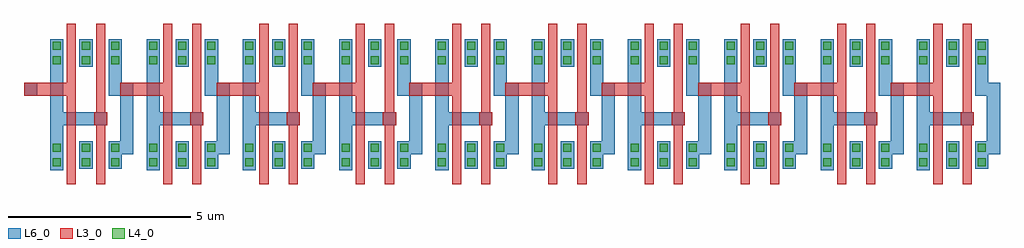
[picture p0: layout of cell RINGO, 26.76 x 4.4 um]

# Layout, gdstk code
import gdstk
lib = gdstk.Library(unit=1e-6, precision=1e-09)
def R(c, l, rs):  # rectangles x0, y0, x1, y1
    for r in rs: c.add(gdstk.rectangle(r[:2], r[2:], *l))
def P(c, l, *ps):  # polygons
    for p in ps: c.add(gdstk.Polygon(p, *l))
L3_0 = (3, 0)
L4_0 = (4, 0)
L6_0 = (6, 0)
L10_0 = (10, 0)
L11_0 = (11, 0)
L20_0 = (20, 0)
L30_0 = (30, 0)

trans = lib.new_cell('TRANS')
R(trans, L3_0, [(-0.125,-0.8,0.125,0.8)])
R(trans, L4_0, [(-0.51,-0.31,-0.29,-0.09), (0.29,-0.31,0.51,-0.09), (-0.51,0.09,-0.29,0.31), (0.29,0.09,0.51,0.31)])
R(trans, L6_0, [(-0.58,-0.38,-0.22,0.38), (0.22,-0.38,0.58,0.38)])

inv2 = lib.new_cell('INV2')
R(inv2, L3_0, [(-0.525,-0.25,-0.275,2.25), (0.275,-0.25,0.525,2.25), (0.22,0.82,0.58,1.18), (-1.7,1.62,-0.4,1.98)])
R(inv2, L6_0, [(-0.98,-0.42,-0.62,2.42), (-0.8,0.82,0.58,1.18)])
P(inv2, L6_0, [(0.8,0.02),(0.8,0.38),(0.94,0.38),(0.94,1.62),(0.62,1.62),(0.62,2.42),(0.98,2.42),(0.98,1.98),(1.3,1.98),(1.3,0.02)])
inv2.add(gdstk.FlexPath([(0.22,0.82),(0.22,1.18)], 0, ends="flush", simple_path=True, layer=10, datatype=0))  # L10_0
inv2.add(gdstk.FlexPath([(-0.275,1.18),(-0.275,0.82)], 0, ends="flush", simple_path=True, layer=10, datatype=0))  # L10_0
inv2.add(gdstk.FlexPath([(0.22,0.82),(0.22,1.18)], 0, ends="flush", simple_path=True, layer=11, datatype=0))  # L11_0
inv2.add(gdstk.FlexPath([(-0.275,3.6),(-0.275,-0.8)], 0, ends="flush", simple_path=True, layer=11, datatype=0))  # L11_0
inv2.add(gdstk.FlexPath([(-0.275,-0.09),(-0.275,-0.31)], 0, ends="flush", simple_path=True, layer=20, datatype=0))  # L20_0
inv2.add(gdstk.FlexPath([(-0.11,-0.31),(-0.11,-0.09)], 0, ends="flush", simple_path=True, layer=20, datatype=0))  # L20_0
inv2.add(gdstk.FlexPath([(0.525,0.31),(0.525,0.09)], 0, ends="flush", simple_path=True, layer=20, datatype=0))  # L20_0
inv2.add(gdstk.FlexPath([(0.69,0.09),(0.69,0.31)], 0, ends="flush", simple_path=True, layer=20, datatype=0))  # L20_0
inv2.add(gdstk.FlexPath([(0.525,2.71),(0.525,2.49)], 0, ends="flush", simple_path=True, layer=20, datatype=0))  # L20_0
inv2.add(gdstk.FlexPath([(0.69,2.49),(0.69,2.71)], 0, ends="flush", simple_path=True, layer=20, datatype=0))  # L20_0
inv2.add(gdstk.FlexPath([(-0.275,2.71),(-0.275,2.49)], 0, ends="flush", simple_path=True, layer=20, datatype=0))  # L20_0
inv2.add(gdstk.FlexPath([(-0.11,2.49),(-0.11,2.71)], 0, ends="flush", simple_path=True, layer=20, datatype=0))  # L20_0
inv2.add(gdstk.FlexPath([(0.525,-0.09),(0.525,-0.31)], 0, ends="flush", simple_path=True, layer=20, datatype=0))  # L20_0
inv2.add(gdstk.FlexPath([(0.69,-0.31),(0.69,-0.09)], 0, ends="flush", simple_path=True, layer=20, datatype=0))  # L20_0
inv2.add(gdstk.FlexPath([(0.275,2.49),(0.275,2.71)], 0, ends="flush", simple_path=True, layer=20, datatype=0))  # L20_0
inv2.add(gdstk.FlexPath([(0.11,2.71),(0.11,2.49)], 0, ends="flush", simple_path=True, layer=20, datatype=0))  # L20_0
inv2.add(gdstk.FlexPath([(-0.275,0.31),(-0.275,0.09)], 0, ends="flush", simple_path=True, layer=20, datatype=0))  # L20_0
inv2.add(gdstk.FlexPath([(-0.11,0.09),(-0.11,0.31)], 0, ends="flush", simple_path=True, layer=20, datatype=0))  # L20_0
inv2.add(gdstk.FlexPath([(0.525,3.11),(0.525,2.89)], 0, ends="flush", simple_path=True, layer=20, datatype=0))  # L20_0
inv2.add(gdstk.FlexPath([(0.69,2.89),(0.69,3.11)], 0, ends="flush", simple_path=True, layer=20, datatype=0))  # L20_0
inv2.add(gdstk.FlexPath([(0.275,2.89),(0.275,3.11)], 0, ends="flush", simple_path=True, layer=20, datatype=0))  # L20_0
inv2.add(gdstk.FlexPath([(0.11,3.11),(0.11,2.89)], 0, ends="flush", simple_path=True, layer=20, datatype=0))  # L20_0
inv2.add(gdstk.FlexPath([(0.275,-0.31),(0.275,-0.09)], 0, ends="flush", simple_path=True, layer=20, datatype=0))  # L20_0
inv2.add(gdstk.FlexPath([(0.11,-0.09),(0.11,-0.31)], 0, ends="flush", simple_path=True, layer=20, datatype=0))  # L20_0
inv2.add(gdstk.FlexPath([(-0.525,-0.31),(-0.525,-0.09)], 0, ends="flush", simple_path=True, layer=20, datatype=0))  # L20_0
inv2.add(gdstk.FlexPath([(-0.69,-0.09),(-0.69,-0.31)], 0, ends="flush", simple_path=True, layer=20, datatype=0))  # L20_0
inv2.add(gdstk.FlexPath([(0.275,0.09),(0.275,0.31)], 0, ends="flush", simple_path=True, layer=20, datatype=0))  # L20_0
inv2.add(gdstk.FlexPath([(0.11,0.31),(0.11,0.09)], 0, ends="flush", simple_path=True, layer=20, datatype=0))  # L20_0
inv2.add(gdstk.FlexPath([(-0.525,0.09),(-0.525,0.31)], 0, ends="flush", simple_path=True, layer=20, datatype=0))  # L20_0
inv2.add(gdstk.FlexPath([(-0.69,0.31),(-0.69,0.09)], 0, ends="flush", simple_path=True, layer=20, datatype=0))  # L20_0
inv2.add(gdstk.FlexPath([(-0.525,2.49),(-0.525,2.71)], 0, ends="flush", simple_path=True, layer=20, datatype=0))  # L20_0
inv2.add(gdstk.FlexPath([(-0.69,2.71),(-0.69,2.49)], 0, ends="flush", simple_path=True, layer=20, datatype=0))  # L20_0
inv2.add(gdstk.FlexPath([(-0.275,3.11),(-0.275,2.89)], 0, ends="flush", simple_path=True, layer=20, datatype=0))  # L20_0
inv2.add(gdstk.FlexPath([(-0.11,2.89),(-0.11,3.11)], 0, ends="flush", simple_path=True, layer=20, datatype=0))  # L20_0
inv2.add(gdstk.FlexPath([(-0.525,2.89),(-0.525,3.11)], 0, ends="flush", simple_path=True, layer=20, datatype=0))  # L20_0
inv2.add(gdstk.FlexPath([(-0.69,3.11),(-0.69,2.89)], 0, ends="flush", simple_path=True, layer=20, datatype=0))  # L20_0
inv2.add(gdstk.FlexPath([(0.98,3.18),(0.98,1.98)], 0, ends="flush", simple_path=True, layer=30, datatype=0))  # L30_0
inv2.add(gdstk.FlexPath([(0.91,3.11),(0.91,2.89)], 0, ends="flush", simple_path=True, layer=30, datatype=0))  # L30_0
inv2.add(gdstk.FlexPath([(0.98,3.18),(0.98,1.98)], 0, ends="flush", simple_path=True, layer=30, datatype=0))  # L30_0
inv2.add(gdstk.FlexPath([(0.91,2.71),(0.91,2.49)], 0, ends="flush", simple_path=True, layer=30, datatype=0))  # L30_0
inv2.add(gdstk.FlexPath([(0.62,-0.38),(0.62,0.38)], 0, ends="flush", simple_path=True, layer=30, datatype=0))  # L30_0
inv2.add(gdstk.FlexPath([(0.69,0.09),(0.69,0.31)], 0, ends="flush", simple_path=True, layer=30, datatype=0))  # L30_0
inv2.add(gdstk.FlexPath([(-0.98,-0.42),(-0.98,3.18)], 0, ends="flush", simple_path=True, layer=30, datatype=0))  # L30_0
inv2.add(gdstk.FlexPath([(-0.91,2.89),(-0.91,3.11)], 0, ends="flush", simple_path=True, layer=30, datatype=0))  # L30_0
inv2.add(gdstk.FlexPath([(0.62,-0.38),(0.62,0.38)], 0, ends="flush", simple_path=True, layer=30, datatype=0))  # L30_0
inv2.add(gdstk.FlexPath([(0.69,-0.31),(0.69,-0.09)], 0, ends="flush", simple_path=True, layer=30, datatype=0))  # L30_0
inv2.add(gdstk.FlexPath([(-0.98,-0.42),(-0.98,3.18)], 0, ends="flush", simple_path=True, layer=30, datatype=0))  # L30_0
inv2.add(gdstk.FlexPath([(-0.91,2.49),(-0.91,2.71)], 0, ends="flush", simple_path=True, layer=30, datatype=0))  # L30_0
inv2.add(gdstk.FlexPath([(-0.98,-0.42),(-0.98,3.18)], 0, ends="flush", simple_path=True, layer=30, datatype=0))  # L30_0
inv2.add(gdstk.FlexPath([(-0.91,-0.31),(-0.91,-0.09)], 0, ends="flush", simple_path=True, layer=30, datatype=0))  # L30_0
inv2.add(gdstk.FlexPath([(-0.18,-0.38),(-0.18,0.38)], 0, ends="flush", simple_path=True, layer=30, datatype=0))  # L30_0
inv2.add(gdstk.FlexPath([(-0.11,0.09),(-0.11,0.31)], 0, ends="flush", simple_path=True, layer=30, datatype=0))  # L30_0
inv2.add(gdstk.FlexPath([(-0.18,0.38),(0.18,0.38)], 0, ends="flush", simple_path=True, layer=30, datatype=0))  # L30_0
inv2.add(gdstk.FlexPath([(-0.11,0.31),(0.11,0.31)], 0, ends="flush", simple_path=True, layer=30, datatype=0))  # L30_0
inv2.add(gdstk.FlexPath([(0.98,0.02),(0.98,-0.38)], 0, ends="flush", simple_path=True, layer=30, datatype=0))  # L30_0
inv2.add(gdstk.FlexPath([(0.91,-0.09),(0.91,-0.31)], 0, ends="flush", simple_path=True, layer=30, datatype=0))  # L30_0
inv2.add(gdstk.FlexPath([(0.18,0.38),(0.18,-0.38)], 0, ends="flush", simple_path=True, layer=30, datatype=0))  # L30_0
inv2.add(gdstk.FlexPath([(0.11,0.31),(0.11,0.09)], 0, ends="flush", simple_path=True, layer=30, datatype=0))  # L30_0
inv2.add(gdstk.FlexPath([(0.18,2.42),(-0.18,2.42)], 0, ends="flush", simple_path=True, layer=30, datatype=0))  # L30_0
inv2.add(gdstk.FlexPath([(0.11,2.49),(-0.11,2.49)], 0, ends="flush", simple_path=True, layer=30, datatype=0))  # L30_0
inv2.add(gdstk.FlexPath([(0.18,0.38),(0.18,-0.38)], 0, ends="flush", simple_path=True, layer=30, datatype=0))  # L30_0
inv2.add(gdstk.FlexPath([(0.11,-0.09),(0.11,-0.31)], 0, ends="flush", simple_path=True, layer=30, datatype=0))  # L30_0
inv2.add(gdstk.FlexPath([(-0.98,-0.42),(-0.98,3.18)], 0, ends="flush", simple_path=True, layer=30, datatype=0))  # L30_0
inv2.add(gdstk.FlexPath([(-0.91,0.09),(-0.91,0.31)], 0, ends="flush", simple_path=True, layer=30, datatype=0))  # L30_0
inv2.add(gdstk.FlexPath([(0.18,3.18),(0.18,2.42)], 0, ends="flush", simple_path=True, layer=30, datatype=0))  # L30_0
inv2.add(gdstk.FlexPath([(0.11,2.71),(0.11,2.49)], 0, ends="flush", simple_path=True, layer=30, datatype=0))  # L30_0
inv2.add(gdstk.FlexPath([(-0.18,-0.38),(-0.18,0.38)], 0, ends="flush", simple_path=True, layer=30, datatype=0))  # L30_0
inv2.add(gdstk.FlexPath([(-0.11,-0.31),(-0.11,-0.09)], 0, ends="flush", simple_path=True, layer=30, datatype=0))  # L30_0
inv2.add(gdstk.FlexPath([(-0.18,2.42),(-0.18,3.18)], 0, ends="flush", simple_path=True, layer=30, datatype=0))  # L30_0
inv2.add(gdstk.FlexPath([(-0.11,2.49),(-0.11,2.71)], 0, ends="flush", simple_path=True, layer=30, datatype=0))  # L30_0
inv2.add(gdstk.FlexPath([(0.18,3.18),(0.18,2.42)], 0, ends="flush", simple_path=True, layer=30, datatype=0))  # L30_0
inv2.add(gdstk.FlexPath([(0.11,3.11),(0.11,2.89)], 0, ends="flush", simple_path=True, layer=30, datatype=0))  # L30_0
inv2.add(gdstk.FlexPath([(-0.18,3.18),(0.18,3.18)], 0, ends="flush", simple_path=True, layer=30, datatype=0))  # L30_0
inv2.add(gdstk.FlexPath([(-0.11,3.11),(0.11,3.11)], 0, ends="flush", simple_path=True, layer=30, datatype=0))  # L30_0
inv2.add(gdstk.FlexPath([(-0.62,3.18),(-0.62,1.18)], 0, ends="flush", simple_path=True, layer=30, datatype=0))  # L30_0
inv2.add(gdstk.FlexPath([(-0.69,2.71),(-0.69,2.49)], 0, ends="flush", simple_path=True, layer=30, datatype=0))  # L30_0
inv2.add(gdstk.FlexPath([(0.98,-0.38),(0.62,-0.38)], 0, ends="flush", simple_path=True, layer=30, datatype=0))  # L30_0
inv2.add(gdstk.FlexPath([(0.91,-0.31),(0.69,-0.31)], 0, ends="flush", simple_path=True, layer=30, datatype=0))  # L30_0
inv2.add(gdstk.FlexPath([(-0.62,3.18),(-0.62,1.18)], 0, ends="flush", simple_path=True, layer=30, datatype=0))  # L30_0
inv2.add(gdstk.FlexPath([(-0.69,3.11),(-0.69,2.89)], 0, ends="flush", simple_path=True, layer=30, datatype=0))  # L30_0
inv2.add(gdstk.FlexPath([(0.62,1.62),(0.62,3.18)], 0, ends="flush", simple_path=True, layer=30, datatype=0))  # L30_0
inv2.add(gdstk.FlexPath([(0.69,2.89),(0.69,3.11)], 0, ends="flush", simple_path=True, layer=30, datatype=0))  # L30_0
inv2.add(gdstk.FlexPath([(-0.18,2.42),(-0.18,3.18)], 0, ends="flush", simple_path=True, layer=30, datatype=0))  # L30_0
inv2.add(gdstk.FlexPath([(-0.11,2.89),(-0.11,3.11)], 0, ends="flush", simple_path=True, layer=30, datatype=0))  # L30_0
inv2.add(gdstk.FlexPath([(0.62,0.38),(0.94,0.38)], 0, ends="flush", simple_path=True, layer=30, datatype=0))  # L30_0
inv2.add(gdstk.FlexPath([(0.69,0.31),(0.91,0.31)], 0, ends="flush", simple_path=True, layer=30, datatype=0))  # L30_0
inv2.add(gdstk.FlexPath([(0.18,-0.38),(-0.18,-0.38)], 0, ends="flush", simple_path=True, layer=30, datatype=0))  # L30_0
inv2.add(gdstk.FlexPath([(0.11,-0.31),(-0.11,-0.31)], 0, ends="flush", simple_path=True, layer=30, datatype=0))  # L30_0
inv2.add(gdstk.FlexPath([(-0.62,0.82),(-0.62,-0.42)], 0, ends="flush", simple_path=True, layer=30, datatype=0))  # L30_0
inv2.add(gdstk.FlexPath([(-0.69,-0.09),(-0.69,-0.31)], 0, ends="flush", simple_path=True, layer=30, datatype=0))  # L30_0
inv2.add(gdstk.FlexPath([(0.62,3.18),(0.98,3.18)], 0, ends="flush", simple_path=True, layer=30, datatype=0))  # L30_0
inv2.add(gdstk.FlexPath([(0.69,3.11),(0.91,3.11)], 0, ends="flush", simple_path=True, layer=30, datatype=0))  # L30_0
inv2.add(gdstk.FlexPath([(0.62,1.62),(0.62,3.18)], 0, ends="flush", simple_path=True, layer=30, datatype=0))  # L30_0
inv2.add(gdstk.FlexPath([(0.69,2.49),(0.69,2.71)], 0, ends="flush", simple_path=True, layer=30, datatype=0))  # L30_0
inv2.add(gdstk.FlexPath([(-0.62,0.82),(-0.62,-0.42)], 0, ends="flush", simple_path=True, layer=30, datatype=0))  # L30_0
inv2.add(gdstk.FlexPath([(-0.69,0.31),(-0.69,0.09)], 0, ends="flush", simple_path=True, layer=30, datatype=0))  # L30_0
inv2.add(gdstk.FlexPath([(-0.98,3.18),(-0.62,3.18)], 0, ends="flush", simple_path=True, layer=30, datatype=0))  # L30_0
inv2.add(gdstk.FlexPath([(-0.91,3.11),(-0.69,3.11)], 0, ends="flush", simple_path=True, layer=30, datatype=0))  # L30_0
inv2.add(gdstk.Reference(trans, (-0.4,0)))
inv2.add(gdstk.Reference(trans, (-0.4,2.8)))
inv2.add(gdstk.Reference(trans, (0.4,0), x_reflection=True))
inv2.add(gdstk.Reference(trans, (0.4,2.8), x_reflection=True))

ringo = lib.new_cell('RINGO')
R(ringo, L6_0, [(-1.7,1.62,-1.34,1.98)])
ringo.add(gdstk.FlexPath([(8.86,1.62),(8.86,1.98)], 0, ends="flush", simple_path=True, layer=10, datatype=0))  # L10_0
ringo.add(gdstk.FlexPath([(8.445,1.98),(8.445,1.62)], 0, ends="flush", simple_path=True, layer=10, datatype=0))  # L10_0
ringo.add(gdstk.FlexPath([(0.94,1.62),(0.94,1.98)], 0, ends="flush", simple_path=True, layer=10, datatype=0))  # L10_0
ringo.add(gdstk.FlexPath([(0.525,1.98),(0.525,1.62)], 0, ends="flush", simple_path=True, layer=10, datatype=0))  # L10_0
ringo.add(gdstk.FlexPath([(3.58,1.62),(3.58,1.98)], 0, ends="flush", simple_path=True, layer=10, datatype=0))  # L10_0
ringo.add(gdstk.FlexPath([(3.165,1.98),(3.165,1.62)], 0, ends="flush", simple_path=True, layer=10, datatype=0))  # L10_0
ringo.add(gdstk.FlexPath([(11.5,1.62),(11.5,1.98)], 0, ends="flush", simple_path=True, layer=10, datatype=0))  # L10_0
ringo.add(gdstk.FlexPath([(11.085,1.98),(11.085,1.62)], 0, ends="flush", simple_path=True, layer=10, datatype=0))  # L10_0
ringo.add(gdstk.FlexPath([(22.06,1.62),(22.06,1.98)], 0, ends="flush", simple_path=True, layer=10, datatype=0))  # L10_0
ringo.add(gdstk.FlexPath([(21.645,1.98),(21.645,1.62)], 0, ends="flush", simple_path=True, layer=10, datatype=0))  # L10_0
ringo.add(gdstk.FlexPath([(19.42,1.62),(19.42,1.98)], 0, ends="flush", simple_path=True, layer=10, datatype=0))  # L10_0
ringo.add(gdstk.FlexPath([(19.005,1.98),(19.005,1.62)], 0, ends="flush", simple_path=True, layer=10, datatype=0))  # L10_0
ringo.add(gdstk.FlexPath([(16.78,1.62),(16.78,1.98)], 0, ends="flush", simple_path=True, layer=10, datatype=0))  # L10_0
ringo.add(gdstk.FlexPath([(16.365,1.98),(16.365,1.62)], 0, ends="flush", simple_path=True, layer=10, datatype=0))  # L10_0
ringo.add(gdstk.FlexPath([(6.22,1.62),(6.22,1.98)], 0, ends="flush", simple_path=True, layer=10, datatype=0))  # L10_0
ringo.add(gdstk.FlexPath([(5.805,1.98),(5.805,1.62)], 0, ends="flush", simple_path=True, layer=10, datatype=0))  # L10_0
ringo.add(gdstk.FlexPath([(14.14,1.62),(14.14,1.98)], 0, ends="flush", simple_path=True, layer=10, datatype=0))  # L10_0
ringo.add(gdstk.FlexPath([(13.725,1.98),(13.725,1.62)], 0, ends="flush", simple_path=True, layer=10, datatype=0))  # L10_0
ringo.add(gdstk.FlexPath([(8.86,1.62),(8.86,1.98)], 0, ends="flush", simple_path=True, layer=11, datatype=0))  # L11_0
ringo.add(gdstk.FlexPath([(8.445,3.6),(8.445,1.18)], 0, ends="flush", simple_path=True, layer=11, datatype=0))  # L11_0
ringo.add(gdstk.FlexPath([(3.58,1.62),(3.58,1.98)], 0, ends="flush", simple_path=True, layer=11, datatype=0))  # L11_0
ringo.add(gdstk.FlexPath([(3.165,3.6),(3.165,1.18)], 0, ends="flush", simple_path=True, layer=11, datatype=0))  # L11_0
ringo.add(gdstk.FlexPath([(0.94,1.62),(0.94,1.98)], 0, ends="flush", simple_path=True, layer=11, datatype=0))  # L11_0
ringo.add(gdstk.FlexPath([(0.525,3.6),(0.525,1.18)], 0, ends="flush", simple_path=True, layer=11, datatype=0))  # L11_0
ringo.add(gdstk.FlexPath([(22.06,1.62),(22.06,1.98)], 0, ends="flush", simple_path=True, layer=11, datatype=0))  # L11_0
ringo.add(gdstk.FlexPath([(21.645,3.6),(21.645,1.18)], 0, ends="flush", simple_path=True, layer=11, datatype=0))  # L11_0
ringo.add(gdstk.FlexPath([(6.22,1.62),(6.22,1.98)], 0, ends="flush", simple_path=True, layer=11, datatype=0))  # L11_0
ringo.add(gdstk.FlexPath([(5.805,3.6),(5.805,1.18)], 0, ends="flush", simple_path=True, layer=11, datatype=0))  # L11_0
ringo.add(gdstk.FlexPath([(16.78,1.62),(16.78,1.98)], 0, ends="flush", simple_path=True, layer=11, datatype=0))  # L11_0
ringo.add(gdstk.FlexPath([(16.365,3.6),(16.365,1.18)], 0, ends="flush", simple_path=True, layer=11, datatype=0))  # L11_0
ringo.add(gdstk.FlexPath([(11.5,1.62),(11.5,1.98)], 0, ends="flush", simple_path=True, layer=11, datatype=0))  # L11_0
ringo.add(gdstk.FlexPath([(11.085,3.6),(11.085,1.18)], 0, ends="flush", simple_path=True, layer=11, datatype=0))  # L11_0
ringo.add(gdstk.FlexPath([(19.42,1.62),(19.42,1.98)], 0, ends="flush", simple_path=True, layer=11, datatype=0))  # L11_0
ringo.add(gdstk.FlexPath([(19.005,3.6),(19.005,1.18)], 0, ends="flush", simple_path=True, layer=11, datatype=0))  # L11_0
ringo.add(gdstk.FlexPath([(14.14,1.62),(14.14,1.98)], 0, ends="flush", simple_path=True, layer=11, datatype=0))  # L11_0
ringo.add(gdstk.FlexPath([(13.725,3.6),(13.725,1.18)], 0, ends="flush", simple_path=True, layer=11, datatype=0))  # L11_0
ringo.add(gdstk.Reference(inv2, (0,0)))
ringo.add(gdstk.Reference(inv2, (2.64,0)))
ringo.add(gdstk.Reference(inv2, (5.28,0)))
ringo.add(gdstk.Reference(inv2, (7.92,0)))
ringo.add(gdstk.Reference(inv2, (10.56,0)))
ringo.add(gdstk.Reference(inv2, (13.2,0)))
ringo.add(gdstk.Reference(inv2, (15.84,0)))
ringo.add(gdstk.Reference(inv2, (18.48,0)))
ringo.add(gdstk.Reference(inv2, (21.12,0)))
ringo.add(gdstk.Reference(inv2, (23.76,0)))

lib.write_gds('RINGO.gds')
